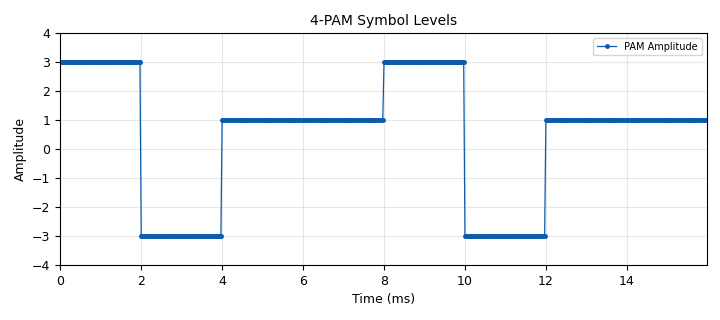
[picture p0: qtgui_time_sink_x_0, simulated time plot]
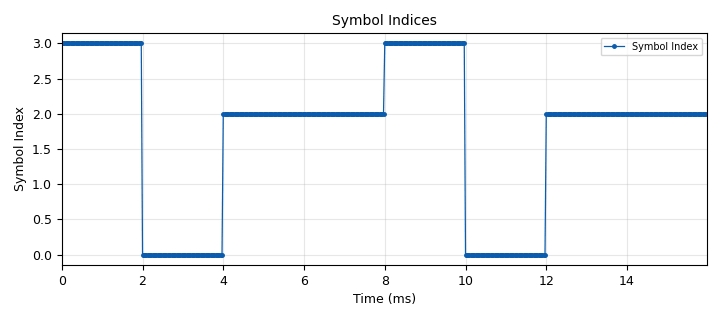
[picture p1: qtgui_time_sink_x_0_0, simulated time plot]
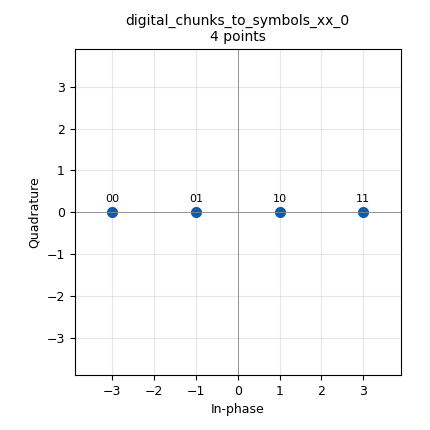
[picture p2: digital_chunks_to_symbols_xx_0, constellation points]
options:
  parameters:
    author: Dhrubjun
    generate_options: qt_gui
    id: exp1
    output_language: python
    title: Symbol Indices to PAM Amplitudes
  states: {}

blocks:
- name: bit_rate
  id: variable
  parameters:
    value: '1000'
  states: {}
- name: bits_per_symbol
  id: variable
  parameters:
    value: '2'
  states: {}
- name: samp_rate
  id: variable
  parameters:
    value: '32000'
  states: {}
- name: samples_per_symbol
  id: variable
  parameters:
    value: int(samp_rate / symbol_rate)
  states: {}
- name: symbol_rate
  id: variable
  parameters:
    value: bit_rate / bits_per_symbol
  states: {}
- name: blocks_repack_bits_bb_0_0
  id: blocks_repack_bits_bb
  parameters:
    endianness: gr.GR_MSB_FIRST
    k: '1'
    l: '2'
  states: {}
- name: blocks_repeat_0
  id: blocks_repeat
  parameters:
    interp: samples_per_symbol
    type: float
  states: {}
- name: blocks_repeat_0_0
  id: blocks_repeat
  parameters:
    interp: samples_per_symbol
    type: float
  states: {}
- name: blocks_throttle2_0
  id: blocks_throttle2
  parameters:
    samples_per_second: samp_rate
    type: float
  states: {}
- name: blocks_throttle2_0_0
  id: blocks_throttle2
  parameters:
    samples_per_second: samp_rate
    type: float
  states: {}
- name: blocks_uchar_to_float_0_0
  id: blocks_uchar_to_float
  parameters: {}
  states: {}
- name: blocks_vector_source_x_0
  id: blocks_vector_source_x
  parameters:
    repeat: 'True'
    type: byte
    vector: (1, 0, 1, 1, 0, 0, 1, 0)
  states: {}
- name: digital_chunks_to_symbols_xx_0
  id: digital_chunks_to_symbols_xx
  parameters:
    dimension: '1'
    in_type: byte
    out_type: float
    symbol_table: '[-3, -1, 1, 3]'
  states: {}
- name: qtgui_time_sink_x_0
  id: qtgui_time_sink_x
  parameters:
    grid: 'True'
    gui_hint: (0,1,1,1)
    label1: PAM Amplitude
    marker1: '0'
    name: 4-PAM Symbol Levels
    size: '512'
    srate: samp_rate
    style1: '2'
    type: float
    update_time: '2'
    ymax: '4'
    ymin: '-4'
  states: {}
- name: qtgui_time_sink_x_0_0
  id: qtgui_time_sink_x
  parameters:
    autoscale: 'True'
    grid: 'True'
    gui_hint: (0,0,1,1)
    label1: Symbol Index
    marker1: '0'
    name: Symbol Indices
    size: '512'
    srate: samp_rate
    style1: '2'
    type: float
    update_time: '2'
    ylabel: Symbol Index
    ymax: '3.5'
    ymin: '-0.5'
  states: {}

connections:
- [blocks_repack_bits_bb_0_0, '0', blocks_uchar_to_float_0_0, '0']
- [blocks_repack_bits_bb_0_0, '0', digital_chunks_to_symbols_xx_0, '0']
- [blocks_repeat_0, '0', blocks_throttle2_0, '0']
- [blocks_repeat_0_0, '0', blocks_throttle2_0_0, '0']
- [blocks_throttle2_0, '0', qtgui_time_sink_x_0, '0']
- [blocks_throttle2_0_0, '0', qtgui_time_sink_x_0_0, '0']
- [blocks_uchar_to_float_0_0, '0', blocks_repeat_0_0, '0']
- [blocks_vector_source_x_0, '0', blocks_repack_bits_bb_0_0, '0']
- [digital_chunks_to_symbols_xx_0, '0', blocks_repeat_0, '0']

metadata:
  file_format: 1
  grc_version: 3.10.12.0
